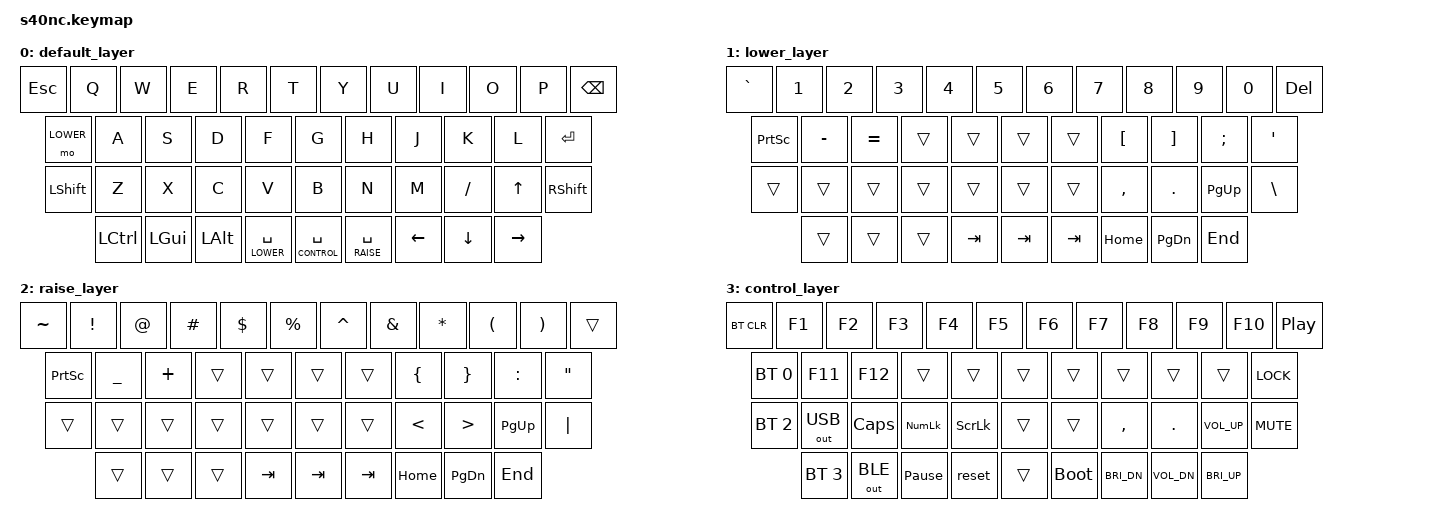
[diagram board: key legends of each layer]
/*
 * Copyright (c) 2021 Nick Winans
 *
 * SPDX-License-Identifier: MIT
 */

#include <behaviors.dtsi>
#include <dt-bindings/zmk/keys.h>
#include <dt-bindings/zmk/bt.h>
#include <dt-bindings/zmk/outputs.h>
#include <dt-bindings/zmk/reset.h>

#define DEFAULT 0
#define LOWER   1
#define RAISE   2
#define CONTROL 3

/ {
  keymap {
    compatible = "zmk,keymap";
    
    default_layer {
      bindings = <
        /* ┌────────────┬────────────┬────────────┬────────────┬────────────┬────────────┬────────────┬────────────┬────────────┬────────────┬────────────┬────────────┐ */
             &kp ESC      &kp Q        &kp W        &kp E        &kp R        &kp T        &kp Y        &kp U        &kp I        &kp O        &kp P        &kp BSPC
        /* ├────────────┴──┬─────────┴──┬─────────┴──┬─────────┴──┬─────────┴──┬─────────┴──┬─────────┴──┬─────────┴──┬─────────┴──┬─────────┴──┬─────────┴────────────┤ */
             &mo LOWER       &kp A        &kp S        &kp D        &kp F        &kp G        &kp H        &kp J        &kp K        &kp L        &kp ENTER
        /* ├───────────────┴────┬───────┴────┬───────┴────┬───────┴────┬───────┴────┬───────┴────┬───────┴────┬───────┴────┬───────┴────┬───────┴────┬─────────────────┤ */
             &kp LSHFT            &kp Z        &kp X        &kp C        &kp V        &kp B        &kp N        &kp M        &kp FSLH     &kp UP       &kp RSHFT
        /* ├──────────────┬─────┴────────┬───┴──────────┬─┴────────────┴────────────┼────────────┴──────┬─────┴────────────┴────┬───────┴────┬───────┴────┬────────────┤ */
             &kp LCTRL      &kp LGUI       &kp LALT       &lt LOWER SPACE             &lt CONTROL SPACE   &lt RAISE SPACE         &kp LEFT     &kp DOWN     &kp RIGHT
        /* └──────────────┴──────────────┴──────────────┴───────────────────────────┴───────────────────┴───────────────────────┴────────────┴────────────┴────────────┘ */
      >;
    };

    lower_layer {
      bindings = <
        /* ┌────────────┬────────────┬────────────┬────────────┬────────────┬────────────┬────────────┬────────────┬────────────┬────────────┬────────────┬────────────┐ */
             &kp GRAVE    &kp N1       &kp N2       &kp N3       &kp N4       &kp N5       &kp N6       &kp N7       &kp N8       &kp N9       &kp N0       &kp DEL
        /* ├────────────┴──┬─────────┴──┬─────────┴──┬─────────┴──┬─────────┴──┬─────────┴──┬─────────┴──┬─────────┴──┬─────────┴──┬─────────┴──┬─────────┴────────────┤ */
             &kp PSCRN       &kp MINUS    &kp EQUAL    &trans       &trans       &trans       &trans       &kp LBKT     &kp RBKT     &kp SEMI     &kp APOS
        /* ├───────────────┴────┬───────┴────┬───────┴────┬───────┴────┬───────┴────┬───────┴────┬───────┴────┬───────┴────┬───────┴────┬───────┴────┬─────────────────┤ */
             &trans               &trans       &trans       &trans       &trans       &trans       &trans       &kp COMMA    &kp DOT      &kp PG_UP    &kp BSLH
        /* ├──────────────┬─────┴────────┬───┴──────────┬─┴────────────┴────────────┼────────────┴──────┬─────┴────────────┴────┬───────┴────┬───────┴────┬────────────┤ */
             &trans         &trans         &trans         &kp TAB                     &kp TAB             &kp TAB                 &kp HOME     &kp PG_DN    &kp END
        /* └──────────────┴──────────────┴──────────────┴───────────────────────────┴───────────────────┴───────────────────────┴────────────┴────────────┴────────────┘ */
      >;
    };
        
    raise_layer {
      bindings = <
        /* ┌────────────┬────────────┬────────────┬────────────┬────────────┬────────────┬────────────┬────────────┬────────────┬────────────┬────────────┬────────────┐ */
             &kp TILDE    &kp EXCL     &kp AT       &kp HASH     &kp DLLR     &kp PRCNT    &kp CARET    &kp AMPS     &kp STAR     &kp LPAR     &kp RPAR     &trans
        /* ├────────────┴──┬─────────┴──┬─────────┴──┬─────────┴──┬─────────┴──┬─────────┴──┬─────────┴──┬─────────┴──┬─────────┴──┬─────────┴──┬─────────┴────────────┤ */
             &kp PSCRN       &kp UNDER    &kp PLUS     &trans       &trans       &trans        &trans      &kp LBRC     &kp RBRC     &kp COLON    &kp DQT
        /* ├───────────────┴────┬───────┴────┬───────┴────┬───────┴────┬───────┴────┬───────┴────┬───────┴────┬───────┴────┬───────┴────┬───────┴────┬─────────────────┤ */
             &trans               &trans       &trans       &trans       &trans       &trans       &trans       &kp LT       &kp GT       &kp PG_UP    &kp PIPE
        /* ├──────────────┬─────┴────────┬───┴──────────┬─┴────────────┴────────────┼────────────┴──────┬─────┴────────────┴────┬───────┴────┬───────┴────┬────────────┤ */
             &trans         &trans         &trans         &kp TAB                     &kp TAB             &kp TAB                 &kp HOME     &kp PG_DN    &kp END
        /* └──────────────┴──────────────┴──────────────┴───────────────────────────┴───────────────────┴───────────────────────┴────────────┴────────────┴────────────┘ */
      >;
    };
        
    control_layer {
      bindings = <
        /* ┌────────────┬────────────┬────────────┬────────────┬────────────┬────────────┬────────────┬────────────┬────────────┬────────────┬────────────┬────────────┐ */
             &bt BT_CLR   &kp F1       &kp F2       &kp F3       &kp F4       &kp F5       &kp F6       &kp F7       &kp F8       &kp F9       &kp F10      &kp C_PP
        /* ├────────────┴──┬─────────┴──┬─────────┴──┬─────────┴──┬─────────┴──┬─────────┴──┬─────────┴──┬─────────┴──┬─────────┴──┬─────────┴──┬─────────┴────────────┤ */
             &bt BT_SEL 0    &kp F11      &kp F12      &trans       &trans       &trans       &trans       &trans       &trans       &trans       &kp K_LOCK
        /* ├───────────────┴────┬───────┴────┬───────┴────┬───────┴────┬───────┴────┬───────┴────┬───────┴────┬───────┴────┬───────┴────┬───────┴────┬─────────────────┤ */
             &bt BT_SEL 2        &out OUT_USB  &kp CAPS     &kp KP_NUM   &kp SLCK     &trans       &trans       &kp COMMA    &kp DOT     &kp K_VOL_UP  &kp K_MUTE
        /* ├──────────────┬─────┴────────┬───┴──────────┬─┴────────────┴────────────┼────────────┴──────┬─────┴────────────┴────┬───────┴────┬───────┴────┬────────────┤ */
             &bt BT_SEL 3   &out OUT_BLE  &kp PAUSE_BREAK &reset                      &trans              &bootloader            &kp C_BRI_DN &kp K_VOL_DN &kp C_BRI_UP
        /* └──────────────┴──────────────┴──────────────┴───────────────────────────┴───────────────────┴───────────────────────┴────────────┴────────────┴────────────┘ */
      >;
    };
  };
};
